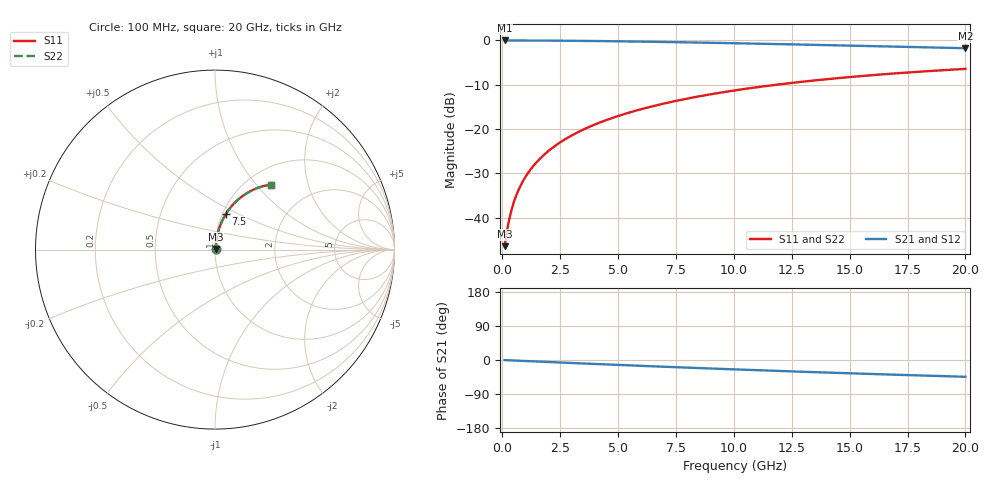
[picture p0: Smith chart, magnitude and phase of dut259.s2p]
! Touchstone file exported from HFSS 2024.1.0
!  File:  C:/UserFiles/LocalFiles/RDL_TSV_Batchsim/temp_RDL_top_259_1778689193.aedt
!  Generated:  12:22:15 AM May 14, 2026
!  Design:  RDL_top
!  Project:  temp_RDL_top_259_1778689193
!  Setup:  Setup1
!  Solution:  Sweep
! Variables:
!  dtsv = 10.80580581um
!  hbump = 3um
!  htsv = 56.02um
!  ldown = 100um
!  lrdl = 593.16um
!  p = 40
!  p1 = 49.77um
!  rhole = 1um
!  t = 450um
!  tdown = 3.915915916um
!  trdl = 4.23um
!  wdown = 15.38538539um
!  wrdl = 13.36um
# GHz S MA R 50.000000
! Terminal data exported
! Port[1] = Box2_T1
! Port[2] = Box2_T2
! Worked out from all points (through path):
!   200 points, 100 MHz to 20 GHz, reference 50 ohm
!   highest |S21| = -0.03 dB at 100 MHz (marker M1); lowest = -1.8 dB at 20 GHz (marker M2)
!   group delay of S21, straight-line fit = 6.15 ps
!   lowest |S11| = -46.4 dB at 100 MHz (marker M3), VSWR 1.01, Z = 50.4 + j0.297 ohm
!   |S11| at or under -10 dB: start of sweep to 11.85 GHz
!   |S22| runs from -46.4 to -6.4 dB; largest |S21 - S12| = 3e-15
!   S11 on the Smith chart (normalised r, x): 100 MHz: 1.01, +0.01; 7.5 GHz: 1.04, +0.43; 20 GHz: 1.27, +1.19
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0.1  0.004801 37.9  0.9962 -0.3  0.9962 -0.3  0.004801 37.9
! Gamma 0 0 0 0
! Port Impedance 50 0 50 0
0.2  0.007042 56.5  0.9961 -0.5  0.9961 -0.5  0.007042 56.5
0.3  0.009643 65.3  0.996 -0.8  0.996 -0.8  0.009643 65.3
0.4  0.01235 70.2  0.9958 -1.1  0.9958 -1.1  0.01235 70.2
0.5  0.01509 73.2  0.9957 -1.4  0.9957 -1.4  0.01509 73.2
0.6  0.01785 75.2  0.9955 -1.6  0.9955 -1.6  0.01785 75.2
0.8  0.02338 77.8  0.9952 -2.1  0.9952 -2.1  0.02338 77.8
1.1  0.03172 79.8  0.9946 -2.9  0.9946 -2.9  0.03172 79.8
1.5  0.04288 80.9  0.9936 -4.0  0.9936 -4.0  0.04289 80.9
1.8  0.05128 81.3  0.9926 -4.8  0.9926 -4.8  0.05128 81.2
2.1  0.05968 81.3  0.9916 -5.6  0.9916 -5.6  0.05968 81.3
2.7  0.07648 81.0  0.989 -7.1  0.989 -7.1  0.07648 81.0
3.5  0.09882 80.1  0.9848 -9.2  0.9848 -9.2  0.09881 80.1
4.2  0.1183 79.0  0.9804 -11.0  0.9804 -11.0  0.1183 79.0
5  0.1403 77.7  0.9746 -13.0  0.9746 -13.0  0.1403 77.7
5.9  0.1649 76.1  0.9674 -15.2  0.9674 -15.2  0.1649 76.0
6.8  0.1892 74.4  0.9595 -17.4  0.9595 -17.4  0.1891 74.3
7.5  0.2078 73.0  0.953 -19.0  0.953 -19.0  0.2077 73.0
10.1  0.2743 67.9  0.9266 -24.9  0.9266 -24.9  0.2742 67.9
13.4  0.3514 61.4  0.89 -31.9  0.89 -31.9  0.3513 61.4
16.7  0.419 55.2  0.852 -38.4  0.852 -38.4  0.4188 55.2
20  0.4766 49.5  0.8145 -44.3  0.8145 -44.3  0.4763 49.4
